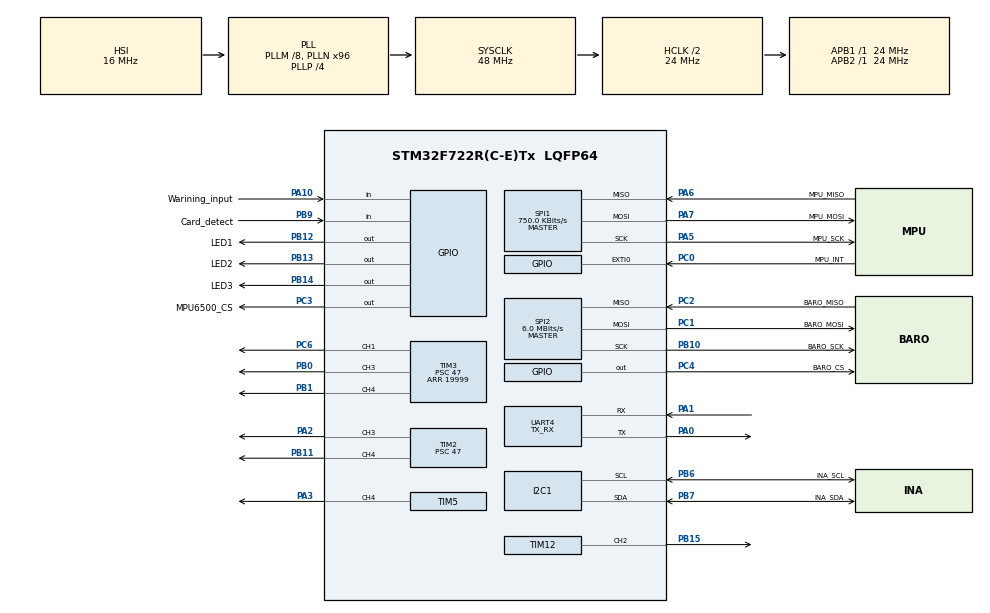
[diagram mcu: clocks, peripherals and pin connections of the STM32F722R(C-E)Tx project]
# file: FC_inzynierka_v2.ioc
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CORTEX_M7.default_mode_Activation=1
Dma.Request0=UART4_RX
Dma.UART4_RX.0.Direction=DMA_PERIPH_TO_MEMORY
Dma.UART4_RX.0.FIFOMode=DMA_FIFOMODE_DISABLE
Dma.UART4_RX.0.Instance=DMA1_Stream2
Dma.UART4_RX.0.MemDataAlignment=DMA_MDATAALIGN_BYTE
Dma.UART4_RX.0.MemInc=DMA_MINC_ENABLE
Dma.UART4_RX.0.Mode=DMA_CIRCULAR
Dma.UART4_RX.0.PeriphDataAlignment=DMA_PDATAALIGN_BYTE
Dma.UART4_RX.0.PeriphInc=DMA_PINC_DISABLE
Dma.UART4_RX.0.Priority=DMA_PRIORITY_HIGH
I2C1.Timing=0x00506682
Mcu.Family=STM32F7
Mcu.Name=STM32F722R(C-E)Tx
Mcu.Package=LQFP64
NVIC.DMA1_Stream2_IRQn=true\:0\:0\:false\:false\:true\:false\:true\:true
NVIC.I2C1_ER_IRQn=true\:0\:0\:false\:false\:true\:true\:true\:true
NVIC.I2C1_EV_IRQn=true\:0\:0\:false\:false\:true\:true\:true\:true
NVIC.PriorityGroup=NVIC_PRIORITYGROUP_4
NVIC.SPI1_IRQn=true\:0\:0\:false\:false\:true\:true\:true\:true
NVIC.SPI2_IRQn=true\:0\:0\:false\:false\:true\:true\:true\:true
NVIC.TIM1_BRK_TIM9_IRQn=true\:0\:0\:false\:false\:true\:true\:true\:true
NVIC.TIM1_CC_IRQn=true\:0\:0\:false\:false\:true\:true\:true\:true
NVIC.TIM1_TRG_COM_TIM11_IRQn=true\:0\:0\:false\:false\:true\:true\:true\:true
NVIC.TIM1_UP_TIM10_IRQn=true\:0\:0\:false\:false\:true\:true\:true\:true
NVIC.TIM2_IRQn=true\:0\:0\:false\:false\:true\:true\:true\:true
NVIC.TIM3_IRQn=true\:0\:0\:false\:false\:true\:true\:true\:true
NVIC.UART4_IRQn=true\:0\:0\:false\:false\:true\:true\:true\:true
PA0-WKUP.Mode=Asynchronous
PA0-WKUP.Signal=UART4_TX
PA1.Mode=Asynchronous
PA1.Signal=UART4_RX
PA10.GPIO_Label=Warining_input
PA10.Signal=GPIO_Input
PA13.Mode=Trace_Asynchronous_SW
PA13.Signal=SYS_JTMS-SWDIO
PA14.Mode=Trace_Asynchronous_SW
PA14.Signal=SYS_JTCK-SWCLK
PA2.Signal=S_TIM2_CH3
PA3.Signal=S_TIM5_CH4
PA5.GPIO_Label=MPU_SCK
PA5.Mode=Full_Duplex_Master
PA5.Signal=SPI1_SCK
PA6.GPIO_Label=MPU_MISO
PA6.Mode=Full_Duplex_Master
PA6.Signal=SPI1_MISO
PA7.GPIO_Label=MPU_MOSI
PA7.Mode=Full_Duplex_Master
PA7.Signal=SPI1_MOSI
PB0.Signal=S_TIM3_CH3
PB1.Signal=S_TIM3_CH4
PB10.GPIO_Label=BARO_SCK
PB10.Mode=Full_Duplex_Master
PB10.Signal=SPI2_SCK
PB11.Signal=S_TIM2_CH4
PB12.GPIO_Label=LED1
PB12.Signal=GPIO_Output
PB13.GPIO_Label=LED2
PB13.Signal=GPIO_Output
PB14.GPIO_Label=LED3
PB14.Signal=GPIO_Output
PB15.Signal=S_TIM12_CH2
PB3.Mode=Trace_Asynchronous_SW
PB3.Signal=SYS_JTDO-SWO
PB6.GPIO_Label=INA_SCL
PB6.Mode=I2C
PB6.Signal=I2C1_SCL
PB7.GPIO_Label=INA_SDA
PB7.Mode=I2C
PB7.Signal=I2C1_SDA
PB9.GPIO_Label=Card_detect
PB9.Signal=GPIO_Input
PC0.GPIO_Label=MPU_INT
PC0.Signal=GPXTI0
PC1.GPIO_Label=BARO_MOSI
PC1.Mode=Full_Duplex_Master
PC1.Signal=SPI2_MOSI
PC2.GPIO_Label=BARO_MISO
PC2.Mode=Full_Duplex_Master
PC2.Signal=SPI2_MISO
PC3.GPIO_Label=MPU6500_CS
PC3.PinState=GPIO_PIN_SET
PC3.Signal=GPIO_Output
PC4.GPIO_Label=BARO_CS
PC4.Signal=GPIO_Output
PC6.Signal=S_TIM3_CH1
PH0-OSC_IN.Mode=HSE-External-Oscillator
PH0-OSC_IN.Signal=RCC_OSC_IN
PH1-OSC_OUT.Mode=HSE-External-Oscillator
PH1-OSC_OUT.Signal=RCC_OSC_OUT
ProjectManager.HeapSize=0x200
ProjectManager.StackSize=0x400
ProjectManager.TargetToolchain=STM32CubeIDE
RCC.AHBCLKDivider=RCC_SYSCLK_DIV2
RCC.AHBFreq_Value=24000000
RCC.APB1Freq_Value=24000000
RCC.APB1TimFreq_Value=24000000
RCC.APB2Freq_Value=24000000
RCC.APB2TimFreq_Value=24000000
RCC.CortexFreq_Value=24000000
RCC.HCLKFreq_Value=24000000
RCC.HSE_VALUE=16000000
RCC.HSI_VALUE=16000000
RCC.LSE_VALUE=32768
RCC.PLLM=8
RCC.PLLN=96
RCC.PLLP=RCC_PLLP_DIV4
RCC.SYSCLKFreq_VALUE=48000000
RCC.SYSCLKSource=RCC_SYSCLKSOURCE_PLLCLK
RCC.USBFreq_Value=96000000
RCC.VCOOutputFreq_Value=192000000
SH.S_TIM12_CH2.0=TIM12_CH2,PWM Generation2 CH2
SH.S_TIM2_CH3.0=TIM2_CH3,PWM Generation3 CH3
SH.S_TIM2_CH4.0=TIM2_CH4,PWM Generation4 CH4
SH.S_TIM3_CH1.0=TIM3_CH1,PWM Generation1 CH1
SH.S_TIM3_CH3.0=TIM3_CH3,PWM Generation3 CH3
SH.S_TIM3_CH4.0=TIM3_CH4,PWM Generation4 CH4
SH.S_TIM5_CH4.0=TIM5_CH4,PWM Generation4 CH4
SPI1.BaudRatePrescaler=SPI_BAUDRATEPRESCALER_32
SPI1.CalculateBaudRate=750.0 KBits/s
SPI1.DataSize=SPI_DATASIZE_8BIT
SPI1.Direction=SPI_DIRECTION_2LINES
SPI1.Mode=SPI_MODE_MASTER
SPI1.NSSPMode=SPI_NSS_PULSE_DISABLE
SPI1.VirtualType=VM_MASTER
SPI2.BaudRatePrescaler=SPI_BAUDRATEPRESCALER_4
SPI2.CalculateBaudRate=6.0 MBits/s
SPI2.DataSize=SPI_DATASIZE_8BIT
SPI2.Direction=SPI_DIRECTION_2LINES
SPI2.Mode=SPI_MODE_MASTER
SPI2.VirtualType=VM_MASTER
STMicroelectronics.X-CUBE-MEMS1.11.1.0.BSP.number=1
STMicroelectronics.X-CUBE-MEMS1.11.1.0.BoardOoPartJjPressTempJjLPS22HB=SPI
STMicroelectronics.X-CUBE-MEMS1.11.1.00.BSP.STBoard=false
STMicroelectronics.X-CUBE-MEMS1.11.1.00.BSP.api=Unknown
STMicroelectronics.X-CUBE-MEMS1.11.1.00.BSP.condition=SEMBoardOoPartJjPressTempJjLPS22HBJjSPI
STMicroelectronics.X-CUBE-MEMS1.11.1.00.BSP.instance=PC4
STMicroelectronics.X-CUBE-MEMS1.11.1.00.BSP.ip=GPIO
STMicroelectronics.X-CUBE-MEMS1.11.1.00.BSP.mode=Output
STMicroelectronics.X-CUBE-MEMS1.11.1.00.BSP.name=LPS22HB_CS
STMicroelectronics.X-CUBE-MEMS1.11.1.00.BSP.solution=PC4
TIM1.Channel-Output\ Compare1\ No\ Output=TIM_CHANNEL_1
TIM1.Period=999
TIM1.Prescaler=47
TIM12.Channel-PWM\ Generation2\ CH2=TIM_CHANNEL_2
TIM12.Prescaler=47
TIM2.Channel-PWM\ Generation3\ CH3=TIM_CHANNEL_3
TIM2.Channel-PWM\ Generation4\ CH4=TIM_CHANNEL_4
TIM2.Period=19999
TIM2.Prescaler=47
TIM3.Channel-PWM\ Generation1\ CH1=TIM_CHANNEL_1
TIM3.Channel-PWM\ Generation3\ CH3=TIM_CHANNEL_3
TIM3.Channel-PWM\ Generation4\ CH4=TIM_CHANNEL_4
TIM3.Period=19999
TIM3.Prescaler=47
TIM5.Channel-PWM\ Generation4\ CH4=TIM_CHANNEL_4
TIM5.Period=19999
TIM5.Prescaler=47
UART4.Mode=MODE_TX_RX
UART4.SwapParam=UART_ADVFEATURE_SWAP_ENABLE
VP_STMicroelectronics.X-CUBE-MEMS1_VS_BoardOoPartJjPressTemp_5.7.0_11.1.0.Mode=BoardOoPartJjPressTemp
VP_TIM12_VS_ClockSourceINT.Mode=Internal
VP_TIM1_VS_ClockSourceINT.Mode=Internal
VP_TIM1_VS_no_output1.Mode=Output Compare1 No Output
VP_TIM2_VS_ClockSourceINT.Mode=Internal
VP_TIM3_VS_ClockSourceINT.Mode=Internal
VP_TIM5_VS_ClockSourceINT.Mode=Internal
board=custom

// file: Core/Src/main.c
/* USER CODE BEGIN Header */
/**
  ******************************************************************************
  * @file           : main.c
  * @brief          : Main program body
  ******************************************************************************
  * @attention
  *
  * Copyright (c) 2025 STMicroelectronics.
  * All rights reserved.
  *
  * This software is licensed under terms that can be found in the LICENSE file
  * in the root directory of this software component.
  * If no LICENSE file comes with this software, it is provided AS-IS.
  *
  ******************************************************************************
  */
/* USER CODE END Header */
#include "main.h"
#include "dma.h"
#include "i2c.h"
#include "spi.h"
#include "tim.h"
#include "usart.h"
#include "gpio.h"

/* USER CODE BEGIN Includes */
#include "driver_mpu6500.h"
#include "driver_mpu6500_basic.h"
#include "driver_mpu6500_fifo.h"

#include "lps22df_reg.h"
#include "lps22df_platform.h"

#include "ibus.h"

#include "math.h"

#include "string.h"

#include "pid.h"
/* USER CODE END Includes */

/* USER CODE BEGIN PTD */
typedef struct
{
	float roll; 	// x axis
	float pitch; 	// y axis
	float yaw; 		// z axis
} Orientation;

//typedef struct {
//    float kp, ki, kd;
//    float integral;
//    float prev_error;
//    float anti_wind_up;
//    float out_max, out_min;
//} PID_t;
/* USER CODE END PTD */

/* USER CODE BEGIN PD */
#define GRAVITY 9.80665f
#define ALT_BARO_WEIGHT 0.98f
#define ALT_ACC_WEIGHT  (1.0f - ALT_BARO_WEIGHT)
/* USER CODE END PD */

/* USER CODE BEGIN PV */

//MPU6500 variables
uint8_t res;
uint32_t i;
uint32_t times;
float g[3];
float dps[3] = {0.0f, 0.0f, 0.0f}; // degrees per second
float degrees;
mpu6500_address_t addr;
uint8_t MPU_Flag = 0;

Orientation orientation = {0.0f, 0.0f, 0.0f};
float gyro_bias[3] = {-0.01, 0.0207, 1.627};

float dt = 0;

uint16_t ibus_data[IBUS_USER_CHANNELS];

float motor_pwm[4]; //motor outputs

uint8_t uart_rx_buffer[32];
volatile uint8_t ibus_data_ready = 0;
volatile uint8_t sync_found = 0;
uint8_t ibus_frame[32];
//static uint8_t sync_buffer[64];
//static uint8_t sync_index = 0;

uint8_t arming = 0;

PID_t pid_angle_roll;
PID_t pid_angle_pitch;

PID_t pid_rate_roll;
PID_t pid_rate_pitch;
PID_t pid_rate_yaw;

float roll_correction = 0;
float pitch_correction = 0;
float yaw_correction = 0;

float altitude_estimate = 0.0f;
float vertical_velocity = 0.0f;
PID_t pid_altitude;

static stmdev_ctx_t lps22df_ctx;
static lps22df_spi_ctx_t lps_spi_ctx;
lps22df_md_t md = {0};
lps22df_data_t data;
lps22df_bus_mode_t bus_mode;
lps22df_all_sources_t all_sources;
float pressure_hpa = 1.0f;
float temperature  = 0.0f;
/* === ALTITUDE ESTIMATION STATE === */
static float altitude = 0.0f;        // wynik końcowy [m] (względem startu)

/* === BAROMETER === */
static float baro_offset = 0.0f;     // baro altitude w spoczynku [m]
static float baro_filt = 0.0f;       // filtrowana wysokość baro [m]

/* === ACCELEROMETER === */
static float acc_z_offset = 0.0f;    // az_g w bezruchu (np. 1.1126 g)

/* === FLAGS === */
static uint8_t calibrated = 0;       // zakończona kalibracja
float baro_p0 = 1013.25f;

/* USER CODE END PV */

void SystemClock_Config(void);
static void MPU_Config(void);

/* USER CODE BEGIN 0 */
//void lps22df_setup(void)
//{
//    lps_spi_ctx.hspi = &hspi2;
//    lps_spi_ctx.cs_port = BARO_CS_GPIO_Port;
//    lps_spi_ctx.cs_pin = BARO_CS_Pin;
//
//    lps22df_ctx.write_reg = lps22df_platform_write;
//    lps22df_ctx.read_reg  = lps22df_platform_read;
//    lps22df_ctx.mdelay    = platform_delay;
//    lps22df_ctx.handle    = &lps_spi_ctx;
//
//    //lps22df_mode_set(&lps22df_ctx, &md);
//
//    lps22df_init(&lps22df_ctx);
//}

void lps22df_setup(void)
{
    /* przypięcie platformy */
    lps22df_ctx.read_reg  = lps22df_platform_read;
    lps22df_ctx.write_reg = lps22df_platform_write;
    lps22df_ctx.mdelay    = platform_delay;
    lps22df_ctx.handle    = &lps_spi_ctx;

    /* reset czujnika */
    lps22df_init_set(&lps22df_ctx, LPS22DF_RESET);
    platform_delay(20); // 10-20ms, aby reset się zakończył

    /* opcjonalnie boot (przywrócenie autozero) */
    lps22df_init_set(&lps22df_ctx, LPS22DF_BOOT);
    platform_delay(10); // 10ms czekania aż boot zakończony

    /* ustaw tryb pracy */

    md.odr = LPS22DF_100Hz;		// wczesniej bylo 50hz
    md.avg = LPS22DF_4_AVG;      // 32 próbki do uśrednienia
    md.lpf = LPS22DF_LPF_ODR_DIV_4; // filtr dolnoprzepustowy
    lps22df_mode_set(&lps22df_ctx, &md);

    bus_mode.interface = LPS22DF_SPI_4W;
    bus_mode.filter = LPS22DF_FILTER_AUTO;
    bus_mode.i3c_ibi_time = LPS22DF_IBI_2us; //LPS22DF_IBI_50us;
    lps22df_bus_mode_set(&lps22df_ctx, &bus_mode);

}

void calibrate_altitude_offsets(void)
{
	while(true)
	{
			static uint32_t cnt = 0;
		    static float acc_sum = 0.0f;
		    static float baro_sum = 0.0f;

		    /* === ODCZYT IMU === */
		    if (mpu6500_basic_read(g, dps) != 0)
		    {
		        return; // pomiń próbkę
		    }

		    float az_g = g[2];   // Z osi MPU (w g!)

		    /* === ODCZYT BAROMETRU === */
		    lps22df_all_sources_get(&lps22df_ctx, &all_sources);
		    if (lps22df_data_get(&lps22df_ctx, &data) != 0)
		    {
		        return;
		    }

		    float pressure_hpa = data.pressure.hpa;

		    float baro_alt =
		        44330.0f * (1.0f - powf(pressure_hpa / baro_p0, 0.1903f));

		    /* === AKUMULACJA === */
		    acc_sum  += az_g;
		    baro_sum += baro_alt;
		    cnt++;

		    /* === ZAKOŃCZENIE === */
		    if (cnt >= 200)   // np. 200 próbek (~2–4 s)
		    {
		        acc_z_offset = acc_sum / cnt;
		        baro_offset  = baro_sum / cnt;
		        calibrated = 1;
		        return;
		    }
	}
}

void update_altitude_fusion(float az_g, float pressure_hpa, float dt)
{
	if (!calibrated)
	        return;

	    /* === PARAMETRY === */
	    const float baro_lp = 0.05f;
	    const float acc_gain = 0.03f;
	    const float acc_deadband_g = 0.02f;

	    /* === BARO → ALT === */
	    float baro_alt =
	        44330.0f * (1.0f - powf(pressure_hpa / baro_p0, 0.1903f));

	    static float baro_filt = 0.0f;
	    baro_filt += baro_lp * (baro_alt - baro_filt);

	    float baro_rel = baro_filt - baro_offset;

	    /* === ACC (BEZ g) === */
	    float a_z = az_g - acc_z_offset;

	    if (fabsf(a_z) < acc_deadband_g)
	        a_z = 0.0f;

	    /* === FUZJA === */
	    altitude += acc_gain * a_z;
	    altitude += 0.02f * (baro_rel - altitude);
}

float altitude_setpoint_from_radio(uint16_t ch)
{
    float norm = ((float)ch - 1000.0f) / 1000.0f; // od 1000 do 2000 -> 0..1
    if (norm < 0.0f) norm = 0.0f;
    if (norm > 1.0f) norm = 1.0f;

    const float MAX_ALTITUDE = 2.0f; // metry
    return norm * MAX_ALTITUDE;
}

float altitude_hold_pid(void)
{
    pid_altitude.setpoint = altitude_setpoint_from_radio(ibus_data[3]);
    float thrust_correction = PID_update(&pid_altitude, altitude_estimate, dt);
    return thrust_correction;
}

float yaw_command_from_radio(uint16_t radio_yaw)
{
    const float MAX_YAW_RATE = 120.0f; // deg/s
    const int   DEADZONE     = 20;     // us

    int delta = (int)radio_yaw - 1500;

    // Deadzone
    if (delta > -DEADZONE && delta < DEADZONE) {
        return 0.0f;
    }

    float norm = delta / 500.0f;

    if (norm >  1.0f) norm =  1.0f;
    if (norm < -1.0f) norm = -1.0f;

    return norm * MAX_YAW_RATE;
}

void calculate_all_pid(float base_throttle)
{
    // --- ANGLE PID ---
    pid_angle_roll.setpoint  = 0.0f;
    pid_angle_pitch.setpoint = 0.0f;

    float desired_rate_roll  = PID_update(&pid_angle_roll, orientation.roll, dt);
    float desired_rate_pitch = PID_update(&pid_angle_pitch, orientation.pitch, dt);

    pid_rate_roll.setpoint  = desired_rate_roll;
    pid_rate_pitch.setpoint = desired_rate_pitch;
    pid_rate_yaw.setpoint   = yaw_command_from_radio(ibus_data[3]);

    roll_correction  = PID_update(&pid_rate_roll, dps[0] - gyro_bias[0], dt);
    pitch_correction = PID_update(&pid_rate_pitch, dps[1] - gyro_bias[1], dt);
    yaw_correction   = PID_update(&pid_rate_yaw, dps[2] - gyro_bias[2], dt);

    // --- ALTITUDE PID ---
    float altitude_correction = altitude_hold_pid();
    float throttle = base_throttle + altitude_correction;

    // --- MIXER ---
    motor_pwm[0] = throttle + pitch_correction + roll_correction + yaw_correction;
    motor_pwm[1] = throttle + pitch_correction - roll_correction - yaw_correction;
    motor_pwm[2] = throttle - pitch_correction - roll_correction + yaw_correction;
    motor_pwm[3] = throttle - pitch_correction + roll_correction - yaw_correction;
//    motor_pwm[0] = throttle - pitch_correction - roll_correction - yaw_correction;
//    motor_pwm[1] = throttle - pitch_correction + roll_correction + yaw_correction;
//    motor_pwm[2] = throttle + pitch_correction + roll_correction - yaw_correction;
//    motor_pwm[3] = throttle + pitch_correction - roll_correction + yaw_correction;
}

static inline void ESC_SetPulse_us(uint16_t us, uint8_t motor_index)
{

	if (us < 500) us = 500; //new limits are 500 1000
	if (us > 1000) us = 1000;

	if(motor_index == 1)
	{
		__HAL_TIM_SET_COMPARE(&htim2, TIM_CHANNEL_3, us);
	} else if(motor_index == 2)
	{
		__HAL_TIM_SET_COMPARE(&htim2, TIM_CHANNEL_4, us);
	} else if(motor_index == 3)
	{
		__HAL_TIM_SET_COMPARE(&htim3, TIM_CHANNEL_1, us);
	} else if(motor_index == 4)
	{
		__HAL_TIM_SET_COMPARE(&htim3, TIM_CHANNEL_3, us);
	} else if(motor_index == 5)
	{
		__HAL_TIM_SET_COMPARE(&htim3, TIM_CHANNEL_4, us);
	} else if(motor_index == 0)
	{
		__HAL_TIM_SET_COMPARE(&htim2, TIM_CHANNEL_3, us);
		__HAL_TIM_SET_COMPARE(&htim2, TIM_CHANNEL_4, us);
		__HAL_TIM_SET_COMPARE(&htim3, TIM_CHANNEL_1, us);
		__HAL_TIM_SET_COMPARE(&htim3, TIM_CHANNEL_3, us);
		__HAL_TIM_SET_COMPARE(&htim3, TIM_CHANNEL_4, us);
	}

}

static inline void Servo_SetPulse_us(uint16_t us, uint8_t servo_index)
{
	if (us < 550) us = 550; //new limits are 500 1000
	if (us > 950) us = 900;

	if(servo_index == 1)
	{
		__HAL_TIM_SET_COMPARE(&htim5, TIM_CHANNEL_4, us);
	} else if(servo_index == 2)
	{
		__HAL_TIM_SET_COMPARE(&htim12, TIM_CHANNEL_2, us);
	} else if(servo_index == 0)
	{
		__HAL_TIM_SET_COMPARE(&htim5, TIM_CHANNEL_4, us);
		__HAL_TIM_SET_COMPARE(&htim12, TIM_CHANNEL_2, us);
	}
}

float get_delta_time(void)
{
    static uint64_t last = 0;
    uint64_t now = HAL_GetTick();
    float dt = (now - last) / 1000.0f;
    last = now;
    return dt;
}

void update_orientation(float gx, float gy, float gz, float ax, float ay, float az, float dt)
{
	orientation.roll 	+= (gx - gyro_bias[0]) * dt;
	orientation.pitch 	+= (gy - gyro_bias[1]) * dt;
	orientation.yaw 	+= (gz - gyro_bias[2]) * dt;

	float acc_roll = atan2f(ay, az) * 180.0f / M_PI;
	float acc_pitch = atan2f(-ax, sqrtf(ay*ay + az*az)) * 180.0f / M_PI;

	const float alpha = 0.9f;
	orientation.roll  = alpha * orientation.roll  + (1.0f - alpha) * acc_roll;
	orientation.pitch = alpha * orientation.pitch + (1.0f - alpha) * acc_pitch;

	if (orientation.roll > 180)   orientation.roll -= 360;
	if (orientation.roll < -180)  orientation.roll += 360;

	if (orientation.pitch > 180)  orientation.pitch -= 360;
	if (orientation.pitch < -180) orientation.pitch += 360;

	if (orientation.yaw > 180)    orientation.yaw -= 360;
	if (orientation.yaw < -180)   orientation.yaw += 360;
}

void calibrate_gyro(int samples)
{
	float sum[3] = {0};

	for (int i = 0; i < samples; i++)
	{
		float g_calib[3];
		mpu6500_basic_read(g_calib, dps);
	    sum[0] += g_calib[0];
	    sum[1] += g_calib[1];
	    sum[2] += g_calib[2];
	    HAL_Delay(10);
	 }

	 gyro_bias[0] = sum[0] / samples;
	 gyro_bias[1] = sum[1] / samples;
	 gyro_bias[2] = sum[2] / samples;
}

void arm_esc()
{
	if(arming == 0 && ibus_data[9] == 2000)
	{
		ESC_SetPulse_us(500, 1);
		ESC_SetPulse_us(500, 2);
		ESC_SetPulse_us(500, 3);
		ESC_SetPulse_us(500, 4);
		ESC_SetPulse_us(500, 5);
		arming = 1;
	}

	if(arming == 1 && ibus_data[9] == 1000)
	{
		arming = 0;
		ESC_SetPulse_us(500, 1);
		ESC_SetPulse_us(500, 2);
		ESC_SetPulse_us(500, 3);
		ESC_SetPulse_us(500, 4);
		ESC_SetPulse_us(500, 5);
	}
}

void HAL_TIM_PeriodElapsedCallback(TIM_HandleTypeDef *htim)
{
	if(htim == &htim1)
	{
		MPU_Flag = 1;
	}
}

void HAL_UART_RxCpltCallback(UART_HandleTypeDef *huart)
{
	if(huart == IBUS_UART)
		ibus_reset_failsafe();
}

/* USER CODE END 0 */

int main(void)
{

  /* MPU Configuration--------------------------------------------------------*/
  MPU_Config();

  /* MCU Configuration--------------------------------------------------------*/

  /* Reset of all peripherals, Initializes the Flash interface and the Systick. */
  HAL_Init();

  /* Configure the system clock */
  SystemClock_Config();

  /* Initialize all configured peripherals */
  MX_GPIO_Init();
  MX_DMA_Init();
  MX_TIM2_Init();
  MX_TIM3_Init();
  MX_TIM5_Init();
  MX_TIM12_Init();
  MX_SPI1_Init();
  MX_TIM1_Init();
  MX_I2C1_Init();
  MX_UART4_Init();
  MX_SPI2_Init();
  /* USER CODE BEGIN 2 */
  HAL_TIM_PWM_Start(&htim2, TIM_CHANNEL_3);
  HAL_TIM_PWM_Start(&htim2, TIM_CHANNEL_4);
  HAL_TIM_PWM_Start(&htim3, TIM_CHANNEL_1);
  HAL_TIM_PWM_Start(&htim3, TIM_CHANNEL_3);
  HAL_TIM_PWM_Start(&htim3, TIM_CHANNEL_4);
  HAL_TIM_PWM_Start(&htim5, TIM_CHANNEL_4);
  HAL_TIM_PWM_Start(&htim12, TIM_CHANNEL_2);

  HAL_TIM_Base_Start_IT(&htim1);
  //HAL_UART_Receive_DMA(&huart4, uart_rx_buffer, 32); possible trash
  __HAL_UART_ENABLE_IT(&huart4, UART_IT_IDLE);

  res = mpu6500_basic_init(MPU6500_INTERFACE_SPI, MPU6500_ADDRESS_AD0_LOW);

  HAL_GPIO_WritePin(MPU6500_CS_GPIO_Port, MPU6500_CS_Pin, GPIO_PIN_SET);

  lps22df_setup();
  calibrate_altitude_offsets();
  //calibrate_gyro(500);

  PID_init(&pid_rate_roll,  0.12f, 0.0f, 0.002f);
  PID_init(&pid_rate_pitch, 0.12f, 0.0f, 0.002f);
  PID_init(&pid_rate_yaw,   0.20f, 0.0f, 0.000f);

  PID_init(&pid_angle_roll,  4.0f, 0.0f, 0.0f);
  PID_init(&pid_angle_pitch, 4.0f, 0.0f, 0.0f);

  PID_init(&pid_altitude, 2.0f, 0.0f, 0.0f);
  pid_altitude.out_min = -200;
  pid_altitude.out_max =  200;

  ibus_init();
  /* USER CODE END 2 */

  /* Infinite loop */
  while (1)
  {

    /* USER CODE BEGIN 3 */
	  //lps22df_trigger_sw(&lps22df_ctx, &md);

	  if(ibus_read(ibus_data))
	  {
		  arm_esc();

		  Servo_SetPulse_us(ibus_data[0]/2, 2);
		  Servo_SetPulse_us(ibus_data[1]/2, 1);

		  if(ibus_data[9] == 2000 && arming == 1)
		  {
//			  ESC_SetPulse_us(ibus_data[2]/2, 1);
//			  ESC_SetPulse_us(ibus_data[2]/2, 2);
//			  ESC_SetPulse_us(ibus_data[2]/2, 3);
//			  ESC_SetPulse_us(ibus_data[2]/2, 4);
//			  ESC_SetPulse_us(ibus_data[4]/2, 5);
			  ESC_SetPulse_us(motor_pwm[0], 1);
			  ESC_SetPulse_us(motor_pwm[1], 2);
			  ESC_SetPulse_us(motor_pwm[2], 3);
			  ESC_SetPulse_us(motor_pwm[3], 4);
			  ESC_SetPulse_us(ibus_data[4]/2, 5);

		  } else
		  {
			  ESC_SetPulse_us(500, 1);
			  ESC_SetPulse_us(500, 2);
			  ESC_SetPulse_us(500, 3);
			  ESC_SetPulse_us(500, 4);
			  ESC_SetPulse_us(500, 5);
		  }

		  if(MPU_Flag == 1)
		  {
		  	if (mpu6500_basic_read(g, dps) != 0)
		  	{
		  		(void)mpu6500_basic_deinit();
		  	}

		  	if (mpu6500_basic_read_temperature(&degrees) != 0)
		  	{
		  		(void)mpu6500_basic_deinit();
		  	}

		  	lps22df_all_sources_get(&lps22df_ctx, &all_sources);
		  	if (lps22df_data_get(&lps22df_ctx, &data) == 0)
		  	{
		  		pressure_hpa = data.pressure.hpa;
		  		temperature  = data.heat.deg_c;
		  	}

		  	dt = get_delta_time();
		  	update_orientation(dps[0], dps[1], dps[2], g[0], g[1], g[2], dt);
		  	update_altitude_fusion(g[2], data.pressure.hpa, dt);

		  	calculate_all_pid(ibus_data[2]/2);

		  	MPU_Flag = 0;
		  }
		  HAL_GPIO_WritePin(LED1_GPIO_Port, LED1_Pin, GPIO_PIN_RESET);
		  HAL_GPIO_WritePin(LED2_GPIO_Port, LED2_Pin, GPIO_PIN_RESET);
		  HAL_GPIO_WritePin(LED3_GPIO_Port, LED3_Pin, GPIO_PIN_RESET);
	  }
	  else
	  {
		  HAL_GPIO_WritePin(LED1_GPIO_Port, LED1_Pin, GPIO_PIN_SET);
		  HAL_GPIO_WritePin(LED2_GPIO_Port, LED2_Pin, GPIO_PIN_SET);
		  HAL_GPIO_WritePin(LED3_GPIO_Port, LED3_Pin, GPIO_PIN_SET);

		  //ibus_soft_failsafe(ibus_data, 10); //do testów na większym fail safe
	  }
  }
  /* USER CODE END 3 */
}

void SystemClock_Config(void)
{
  RCC_OscInitTypeDef RCC_OscInitStruct = {0};
  RCC_ClkInitTypeDef RCC_ClkInitStruct = {0};

  /** Configure the main internal regulator output voltage
  */
  __HAL_RCC_PWR_CLK_ENABLE();
  __HAL_PWR_VOLTAGESCALING_CONFIG(PWR_REGULATOR_VOLTAGE_SCALE3);

  /** Initializes the RCC Oscillators according to the specified parameters
  * in the RCC_OscInitTypeDef structure.
  */
  RCC_OscInitStruct.OscillatorType = RCC_OSCILLATORTYPE_HSI;
  RCC_OscInitStruct.HSIState = RCC_HSI_ON;
  RCC_OscInitStruct.HSICalibrationValue = RCC_HSICALIBRATION_DEFAULT;
  RCC_OscInitStruct.PLL.PLLState = RCC_PLL_ON;
  RCC_OscInitStruct.PLL.PLLSource = RCC_PLLSOURCE_HSI;
  RCC_OscInitStruct.PLL.PLLM = 8;
  RCC_OscInitStruct.PLL.PLLN = 96;
  RCC_OscInitStruct.PLL.PLLP = RCC_PLLP_DIV4;
  RCC_OscInitStruct.PLL.PLLQ = 2;
  if (HAL_RCC_OscConfig(&RCC_OscInitStruct) != HAL_OK)
  {
    Error_Handler();
  }

  /** Initializes the CPU, AHB and APB buses clocks
  */
  RCC_ClkInitStruct.ClockType = RCC_CLOCKTYPE_HCLK|RCC_CLOCKTYPE_SYSCLK
                              |RCC_CLOCKTYPE_PCLK1|RCC_CLOCKTYPE_PCLK2;
  RCC_ClkInitStruct.SYSCLKSource = RCC_SYSCLKSOURCE_PLLCLK;
  RCC_ClkInitStruct.AHBCLKDivider = RCC_SYSCLK_DIV2;
  RCC_ClkInitStruct.APB1CLKDivider = RCC_HCLK_DIV1;
  RCC_ClkInitStruct.APB2CLKDivider = RCC_HCLK_DIV1;

  if (HAL_RCC_ClockConfig(&RCC_ClkInitStruct, FLASH_LATENCY_0) != HAL_OK)
  {
    Error_Handler();
  }
}

 /* MPU Configuration */

void MPU_Config(void)
{
  MPU_Region_InitTypeDef MPU_InitStruct = {0};

  /* Disables the MPU */
  HAL_MPU_Disable();

  /** Initializes and configures the Region and the memory to be protected
  */
  MPU_InitStruct.Enable = MPU_REGION_ENABLE;
  MPU_InitStruct.Number = MPU_REGION_NUMBER0;
  MPU_InitStruct.BaseAddress = 0x0;
  MPU_InitStruct.Size = MPU_REGION_SIZE_4GB;
  MPU_InitStruct.SubRegionDisable = 0x87;
  MPU_InitStruct.TypeExtField = MPU_TEX_LEVEL0;
  MPU_InitStruct.AccessPermission = MPU_REGION_NO_ACCESS;
  MPU_InitStruct.DisableExec = MPU_INSTRUCTION_ACCESS_DISABLE;
  MPU_InitStruct.IsShareable = MPU_ACCESS_SHAREABLE;
  MPU_InitStruct.IsCacheable = MPU_ACCESS_NOT_CACHEABLE;
  MPU_InitStruct.IsBufferable = MPU_ACCESS_NOT_BUFFERABLE;

  HAL_MPU_ConfigRegion(&MPU_InitStruct);
  /* Enables the MPU */
  HAL_MPU_Enable(MPU_PRIVILEGED_DEFAULT);

}

void Error_Handler(void)
{
  __disable_irq();
  while (1)
  {
  }
}
